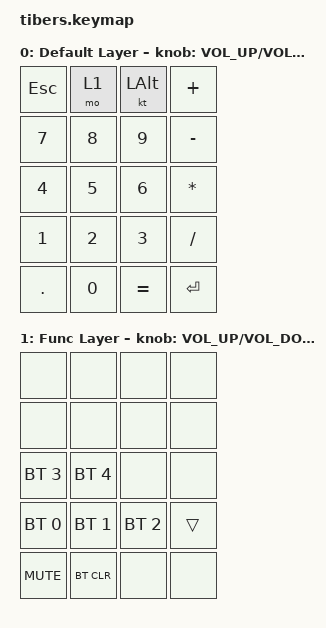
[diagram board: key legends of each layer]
/*
 * Copyright (c) 2020 The ZMK Contributors
 *
 * SPDX-License-Identifier: MIT
 */

#include <behaviors.dtsi>
#include <dt-bindings/zmk/bt.h>
#include <dt-bindings/zmk/keys.h>
#include <dt-bindings/zmk/outputs.h>

/ {
    keymap {
        compatible = "zmk,keymap";

        default_layer {
            display-name = "Default Layer";
            bindings = <
                &kp ESC      &mo 1           &kt LALT     &kp PLUS
                &kp N7       &kp N8          &kp N9       &kp MINUS
                &kp N4       &kp N5          &kp N6       &kp ASTERISK
                &kp N1       &kp N2          &kp N3       &kp SLASH
                &kp DOT      &kp N0          &kp EQUAL    &kp ENTER
            >;

            sensor-bindings = <&inc_dec_kp C_VOLUME_UP C_VOLUME_DOWN>;
        };

         func_layer {
             display-name = "Func Layer";
             bindings = <
                &none           &none           &none           &none
                &none           &none           &none           &none
                &bt BT_SEL 3    &bt BT_SEL 4    &none           &none
                &bt BT_SEL 0    &bt BT_SEL 1    &bt BT_SEL 2    &trans
                &kp C_MUTE      &bt BT_CLR      &none           &none
             >;

             sensor-bindings = <&inc_dec_kp C_VOLUME_UP C_VOLUME_DOWN>;
         };
    };
};
